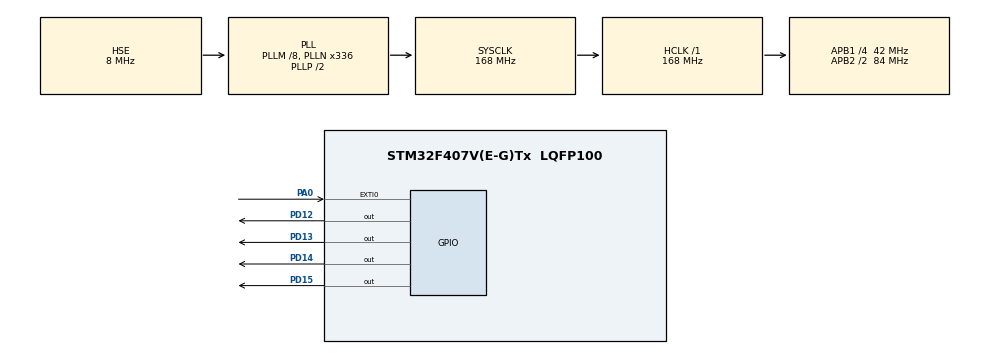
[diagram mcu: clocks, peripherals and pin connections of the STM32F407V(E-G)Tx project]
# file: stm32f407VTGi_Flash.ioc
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FREERTOS.Tasks01=defaultTask,0,128,StartDefaultTask,Default,NULL
Mcu.Family=STM32F4
Mcu.Name=STM32F407V(E-G)Tx
Mcu.Package=LQFP100
NVIC.EXTI0_IRQn=true\:5\:0\:false\:false\:true\:true\:true\:true
NVIC.PriorityGroup=NVIC_PRIORITYGROUP_4
NVIC.TIM6_DAC_IRQn=true\:0\:0\:false\:false\:true\:false\:false\:true
NVIC.TimeBase=TIM6_DAC_IRQn
NVIC.TimeBaseIP=TIM6
PA0-WKUP.Signal=GPXTI0
PD12.Signal=GPIO_Output
PD13.Signal=GPIO_Output
PD14.Signal=GPIO_Output
PD15.Signal=GPIO_Output
PH0-OSC_IN.Mode=HSE-External-Oscillator
PH0-OSC_IN.Signal=RCC_OSC_IN
PH1-OSC_OUT.Mode=HSE-External-Oscillator
PH1-OSC_OUT.Signal=RCC_OSC_OUT
ProjectManager.HeapSize=0x200
ProjectManager.StackSize=0x400
ProjectManager.TargetToolchain=TrueSTUDIO
RCC.48MHZClocksFreq_Value=48000000
RCC.AHBFreq_Value=168000000
RCC.APB1CLKDivider=RCC_HCLK_DIV4
RCC.APB1Freq_Value=42000000
RCC.APB1TimFreq_Value=84000000
RCC.APB2CLKDivider=RCC_HCLK_DIV2
RCC.APB2Freq_Value=84000000
RCC.APB2TimFreq_Value=168000000
RCC.CortexFreq_Value=168000000
RCC.HCLKFreq_Value=168000000
RCC.HSE_VALUE=8000000
RCC.HSI_VALUE=16000000
RCC.PLLM=8
RCC.PLLN=336
RCC.PLLQ=7
RCC.PLLSourceVirtual=RCC_PLLSOURCE_HSE
RCC.SYSCLKFreq_VALUE=168000000
RCC.SYSCLKSource=RCC_SYSCLKSOURCE_PLLCLK
RCC.VCOOutputFreq_Value=336000000
VP_FREERTOS_VS_CMSIS_V1.Mode=CMSIS_V1
VP_SYS_VS_tim6.Mode=TIM6
board=STM32F407G-DISC1

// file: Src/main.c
/* USER CODE BEGIN Header */
/**
  ******************************************************************************
  * @file           : main.c
  * @brief          : Main program body
  ******************************************************************************
  * @attention
  *
  * <h2><center>&copy; Copyright (c) 2019 STMicroelectronics.
  * All rights reserved.</center></h2>
  *
  * This software component is licensed by ST under Ultimate Liberty license
  * SLA0044, the "License"; You may not use this file except in compliance with
  * the License. You may obtain a copy of the License at:
  *                             www.st.com/SLA0044
  *
  ******************************************************************************
  */
/* USER CODE END Header */

#include "main.h"
#include "cmsis_os.h"

/* USER CODE BEGIN Includes */
#include "flash.h"
/* USER CODE END Includes */

osThreadId defaultTaskHandle;

void SystemClock_Config(void);
static void MX_GPIO_Init(void);
void StartDefaultTask(void const * argument);

/* USER CODE BEGIN 0 */
/*
 * Store User data
 * */
struct led_t {
	uint8_t cnt;  	//count up every time a user button is pressed.
	uint8_t led1;	//not being used
	uint8_t led2;	//not being used
	uint8_t led3;	//not being used
	uint8_t led4;	//not being used
};

/*
 * 	Hold the flash led instance.
 * */
static struct flash_t flash_user_data;

/*
 * used for not updating the led if nothing changes
 * */
static uint8_t led_change=0xFFU;
/*
 * initialized the led data.
 */
static struct led_t led = { 0x00, 0x00, 0x00, 0x00, 0x00 };
/*
 * if a led cnt is changed then turn on/off the led.
 */
static void update_led(void) {
	if (led.cnt != led_change) { //avoid keep writing to the leds.
		if (led.cnt == 0) {
			HAL_GPIO_WritePin(GPIOD, GPIO_PIN_12, GPIO_PIN_RESET);
			HAL_GPIO_WritePin(GPIOD, GPIO_PIN_13, GPIO_PIN_RESET);
			HAL_GPIO_WritePin(GPIOD, GPIO_PIN_14, GPIO_PIN_RESET);
			HAL_GPIO_WritePin(GPIOD, GPIO_PIN_15, GPIO_PIN_RESET);
		} else if (led.cnt == 1) {
			HAL_GPIO_WritePin(GPIOD, GPIO_PIN_12, GPIO_PIN_SET);
		} else if (led.cnt == 2) {
			HAL_GPIO_WritePin(GPIOD, GPIO_PIN_12, GPIO_PIN_SET);
			HAL_GPIO_WritePin(GPIOD, GPIO_PIN_13, GPIO_PIN_SET);
		} else if (led.cnt == 3) {
			HAL_GPIO_WritePin(GPIOD, GPIO_PIN_12, GPIO_PIN_SET);
			HAL_GPIO_WritePin(GPIOD, GPIO_PIN_13, GPIO_PIN_SET);
			HAL_GPIO_WritePin(GPIOD, GPIO_PIN_14, GPIO_PIN_SET);
		} else if (led.cnt == 4) {
			HAL_GPIO_WritePin(GPIOD, GPIO_PIN_12, GPIO_PIN_SET);
			HAL_GPIO_WritePin(GPIOD, GPIO_PIN_13, GPIO_PIN_SET);
			HAL_GPIO_WritePin(GPIOD, GPIO_PIN_14, GPIO_PIN_SET);
			HAL_GPIO_WritePin(GPIOD, GPIO_PIN_15, GPIO_PIN_SET);
		}
		led_change = led.cnt;
	}
}

/*
 * This task is called every 200ms to update the leds.
 * if anything changes then update the flash
 */
void flash_update(void *arg) {
	while (true) {
		update_led();
		flash_user_data.flash_update(&flash_user_data);
		osDelay(200);
	}
}

/*
 * Interrupted when user press the user button.
 * increment the cnt.
 */
void HAL_GPIO_EXTI_Callback(uint16_t GPIO_Pin)
{
	if (GPIO_Pin == GPIO_PIN_0) {
		led.cnt = (led.cnt+1) % 5;
	}
}
/* USER CODE END 0 */

int main(void)
{

  /* MCU Configuration--------------------------------------------------------*/

  /* Reset of all peripherals, Initializes the Flash interface and the Systick. */
  HAL_Init();

  /* Configure the system clock */
  SystemClock_Config();

  /* Initialize all configured peripherals */
  MX_GPIO_Init();

  /* Create the thread(s) */
  /* definition and creation of defaultTask */
  osThreadDef(defaultTask, StartDefaultTask, osPriorityNormal, 0, 128);
  defaultTaskHandle = osThreadCreate(osThread(defaultTask), NULL);

  /* USER CODE BEGIN RTOS_THREADS */
  /* add threads, ... */
  /*
   * create a flash instance to store the led data.
   * Passing a pointer to the led data and the size.
   */
  flash_create(&flash_user_data, (uint8_t *)&led, sizeof(struct led_t));
  /*
   * update the led based on the led data
   */
  update_led();
  /*
   * create a task to monitor the led data.
   */
  xTaskCreate(flash_update, "flash update", 128, NULL, 0, NULL);
  /* USER CODE END RTOS_THREADS */

  /* Start scheduler */
  osKernelStart();

  /* We should never get here as control is now taken by the scheduler */

  /* Infinite loop */
  while (1)
  {

  }
}

void SystemClock_Config(void)
{
  RCC_OscInitTypeDef RCC_OscInitStruct = {0};
  RCC_ClkInitTypeDef RCC_ClkInitStruct = {0};

  /** Configure the main internal regulator output voltage
  */
  __HAL_RCC_PWR_CLK_ENABLE();
  __HAL_PWR_VOLTAGESCALING_CONFIG(PWR_REGULATOR_VOLTAGE_SCALE1);
  /** Initializes the CPU, AHB and APB busses clocks
  */
  RCC_OscInitStruct.OscillatorType = RCC_OSCILLATORTYPE_HSE;
  RCC_OscInitStruct.HSEState = RCC_HSE_ON;
  RCC_OscInitStruct.PLL.PLLState = RCC_PLL_ON;
  RCC_OscInitStruct.PLL.PLLSource = RCC_PLLSOURCE_HSE;
  RCC_OscInitStruct.PLL.PLLM = 8;
  RCC_OscInitStruct.PLL.PLLN = 336;
  RCC_OscInitStruct.PLL.PLLP = RCC_PLLP_DIV2;
  RCC_OscInitStruct.PLL.PLLQ = 7;
  if (HAL_RCC_OscConfig(&RCC_OscInitStruct) != HAL_OK)
  {
    Error_Handler();
  }
  /** Initializes the CPU, AHB and APB busses clocks
  */
  RCC_ClkInitStruct.ClockType = RCC_CLOCKTYPE_HCLK|RCC_CLOCKTYPE_SYSCLK
                              |RCC_CLOCKTYPE_PCLK1|RCC_CLOCKTYPE_PCLK2;
  RCC_ClkInitStruct.SYSCLKSource = RCC_SYSCLKSOURCE_PLLCLK;
  RCC_ClkInitStruct.AHBCLKDivider = RCC_SYSCLK_DIV1;
  RCC_ClkInitStruct.APB1CLKDivider = RCC_HCLK_DIV4;
  RCC_ClkInitStruct.APB2CLKDivider = RCC_HCLK_DIV2;

  if (HAL_RCC_ClockConfig(&RCC_ClkInitStruct, FLASH_LATENCY_5) != HAL_OK)
  {
    Error_Handler();
  }
}

static void MX_GPIO_Init(void)
{
  GPIO_InitTypeDef GPIO_InitStruct = {0};

  /* GPIO Ports Clock Enable */
  __HAL_RCC_GPIOH_CLK_ENABLE();
  __HAL_RCC_GPIOA_CLK_ENABLE();
  __HAL_RCC_GPIOD_CLK_ENABLE();

  /*Configure GPIO pin Output Level */
  HAL_GPIO_WritePin(GPIOD, GPIO_PIN_12|GPIO_PIN_13|GPIO_PIN_14|GPIO_PIN_15, GPIO_PIN_RESET);

  /*Configure GPIO pin : PA0 */
  GPIO_InitStruct.Pin = GPIO_PIN_0;
  GPIO_InitStruct.Mode = GPIO_MODE_IT_RISING;
  GPIO_InitStruct.Pull = GPIO_NOPULL;
  HAL_GPIO_Init(GPIOA, &GPIO_InitStruct);

  /*Configure GPIO pins : PD12 PD13 PD14 PD15 */
  GPIO_InitStruct.Pin = GPIO_PIN_12|GPIO_PIN_13|GPIO_PIN_14|GPIO_PIN_15;
  GPIO_InitStruct.Mode = GPIO_MODE_OUTPUT_PP;
  GPIO_InitStruct.Pull = GPIO_NOPULL;
  GPIO_InitStruct.Speed = GPIO_SPEED_FREQ_LOW;
  HAL_GPIO_Init(GPIOD, &GPIO_InitStruct);

  /* EXTI interrupt init*/
  HAL_NVIC_SetPriority(EXTI0_IRQn, 5, 0);
  HAL_NVIC_EnableIRQ(EXTI0_IRQn);

}

void StartDefaultTask(void const * argument)
{
  for(;;)
  {
    osDelay(1);
  }
}

void HAL_TIM_PeriodElapsedCallback(TIM_HandleTypeDef *htim)
{
  if (htim->Instance == TIM6) {
    HAL_IncTick();
  }
}

void Error_Handler(void)
{
}

/************************ (C) COPYRIGHT STMicroelectronics *****END OF FILE****/
